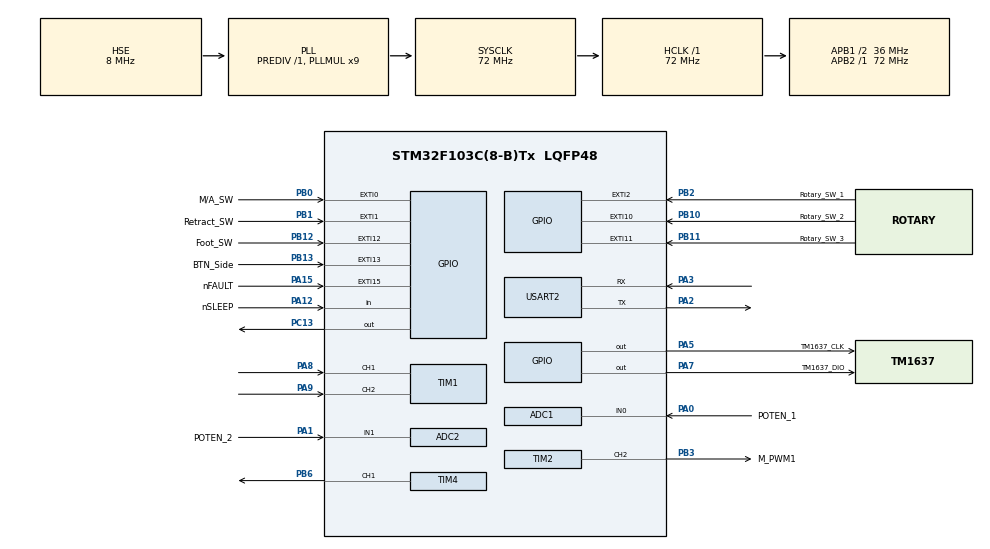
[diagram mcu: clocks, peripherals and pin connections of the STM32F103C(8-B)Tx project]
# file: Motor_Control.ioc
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ADC1.Channel-0\#ChannelRegularConversion=ADC_CHANNEL_0
ADC1.NbrOfConversion=1
ADC1.NbrOfConversionFlag=1
ADC1.Rank-0\#ChannelRegularConversion=1
ADC1.SamplingTime-0\#ChannelRegularConversion=ADC_SAMPLETIME_1CYCLE_5
ADC1.master=1
ADC2.Channel-0\#ChannelRegularConversion=ADC_CHANNEL_1
ADC2.NbrOfConversionFlag=1
ADC2.Rank-0\#ChannelRegularConversion=1
ADC2.SamplingTime-0\#ChannelRegularConversion=ADC_SAMPLETIME_1CYCLE_5
Mcu.Family=STM32F1
Mcu.Name=STM32F103C(8-B)Tx
Mcu.Package=LQFP48
NVIC.EXTI0_IRQn=true\:1\:0\:true\:false\:true\:true\:true\:true
NVIC.EXTI15_10_IRQn=true\:2\:0\:true\:false\:true\:true\:true\:true
NVIC.EXTI1_IRQn=true\:3\:0\:true\:false\:true\:true\:true\:true
NVIC.EXTI2_IRQn=true\:2\:0\:true\:false\:true\:true\:true\:true
NVIC.PriorityGroup=NVIC_PRIORITYGROUP_4
NVIC.TIM3_IRQn=true\:0\:0\:true\:false\:true\:true\:true\:true
PA0-WKUP.GPIO_Label=POTEN_1
PA0-WKUP.Signal=ADCx_IN0
PA1.GPIO_Label=POTEN_2
PA1.Signal=ADCx_IN1
PA12.GPIO_Label=nSLEEP
PA12.Signal=GPIO_Input
PA13.Mode=Serial_Wire
PA13.Signal=SYS_JTMS-SWDIO
PA14.Mode=Serial_Wire
PA14.Signal=SYS_JTCK-SWCLK
PA15.GPIO_Label=nFAULT
PA15.GPIO_ModeDefaultEXTI=GPIO_MODE_IT_FALLING
PA15.GPIO_PuPd=GPIO_PULLUP
PA15.Signal=GPXTI15
PA2.Mode=Asynchronous
PA2.Signal=USART2_TX
PA3.Mode=Asynchronous
PA3.Signal=USART2_RX
PA5.GPIO_Label=TM1637_CLK
PA5.GPIO_Speed=GPIO_SPEED_FREQ_HIGH
PA5.Signal=GPIO_Output
PA7.GPIO_Label=TM1637_DIO
PA7.GPIO_Speed=GPIO_SPEED_FREQ_HIGH
PA7.Signal=GPIO_Output
PA8.GPIO_PuPd=GPIO_PULLUP
PA8.Signal=S_TIM1_CH1
PA9.GPIO_PuPd=GPIO_PULLUP
PA9.Signal=S_TIM1_CH2
PB0.GPIO_Label=M/A_SW
PB0.GPIO_ModeDefaultEXTI=GPIO_MODE_IT_FALLING
PB0.GPIO_PuPd=GPIO_PULLUP
PB0.Signal=GPXTI0
PB1.GPIO_Label=Retract_SW
PB1.GPIO_ModeDefaultEXTI=GPIO_MODE_IT_FALLING
PB1.GPIO_PuPd=GPIO_PULLUP
PB1.Signal=GPXTI1
PB10.GPIO_Label=Rotary_SW_2
PB10.GPIO_ModeDefaultEXTI=GPIO_MODE_IT_FALLING
PB10.GPIO_PuPd=GPIO_PULLUP
PB10.Signal=GPXTI10
PB11.GPIO_Label=Rotary_SW_3
PB11.GPIO_ModeDefaultEXTI=GPIO_MODE_IT_FALLING
PB11.GPIO_PuPd=GPIO_PULLUP
PB11.Signal=GPXTI11
PB12.GPIO_Label=Foot_SW
PB12.GPIO_ModeDefaultEXTI=GPIO_MODE_IT_FALLING
PB12.GPIO_PuPd=GPIO_PULLUP
PB12.Signal=GPXTI12
PB13.GPIO_Label=BTN_Side
PB13.GPIO_ModeDefaultEXTI=GPIO_MODE_IT_FALLING
PB13.GPIO_PuPd=GPIO_PULLUP
PB13.Signal=GPXTI13
PB2.GPIO_Label=Rotary_SW_1
PB2.GPIO_ModeDefaultEXTI=GPIO_MODE_IT_FALLING
PB2.GPIO_PuPd=GPIO_PULLUP
PB2.Signal=GPXTI2
PB3.GPIO_Label=M_PWM1
PB3.Signal=S_TIM2_CH2
PB6.Signal=S_TIM4_CH1
PC13-TAMPER-RTC.Signal=GPIO_Output
PD0-OSC_IN.Mode=HSE-External-Oscillator
PD0-OSC_IN.Signal=RCC_OSC_IN
PD1-OSC_OUT.Mode=HSE-External-Oscillator
PD1-OSC_OUT.Signal=RCC_OSC_OUT
ProjectManager.HeapSize=0x200
ProjectManager.StackSize=0x400
ProjectManager.TargetToolchain=STM32CubeIDE
RCC.ADCPresc=RCC_ADCPCLK2_DIV6
RCC.AHBFreq_Value=72000000
RCC.APB1CLKDivider=RCC_HCLK_DIV2
RCC.APB1Freq_Value=36000000
RCC.APB1TimFreq_Value=72000000
RCC.APB2Freq_Value=72000000
RCC.APB2TimFreq_Value=72000000
RCC.HCLKFreq_Value=72000000
RCC.PLLMUL=RCC_PLL_MUL9
RCC.PLLSourceVirtual=RCC_PLLSOURCE_HSE
RCC.SYSCLKFreq_VALUE=72000000
RCC.SYSCLKSource=RCC_SYSCLKSOURCE_PLLCLK
RCC.USBFreq_Value=72000000
SH.ADCx_IN0.0=ADC1_IN0,IN0
SH.ADCx_IN1.0=ADC2_IN1,IN1
SH.S_TIM1_CH1.0=TIM1_CH1,Encoder_Interface
SH.S_TIM1_CH2.0=TIM1_CH2,Encoder_Interface
SH.S_TIM2_CH2.0=TIM2_CH2,PWM Generation2 CH2
SH.S_TIM4_CH1.0=TIM4_CH1,PWM Generation1 CH1
TIM2.Channel-PWM\ Generation2\ CH2=TIM_CHANNEL_2
TIM2.Period=49
TIM2.Prescaler=71
TIM3.Period=9999
TIM3.Prescaler=7199
TIM4.Channel-PWM\ Generation1\ CH1=TIM_CHANNEL_1
TIM4.Period=49
TIM4.Prescaler=71
USART2.VirtualMode=VM_ASYNC
VP_TIM3_VS_ClockSourceINT.Mode=Internal
board=custom

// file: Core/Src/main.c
/* USER CODE BEGIN Header */
/**
  ******************************************************************************
  * @file           : main.c
  * @brief          : Main program body
  ******************************************************************************
  * @attention
  *
  * Copyright (c) 2024 STMicroelectronics.
  * All rights reserved.
  *
  * This software is licensed under terms that can be found in the LICENSE file
  * in the root directory of this software component.
  * If no LICENSE file comes with this software, it is provided AS-IS.
  *
  ******************************************************************************
  */
/* USER CODE END Header */
#include "main.h"

/* USER CODE BEGIN Includes */
#include <stdbool.h>
#include "tm1637.h"
/* USER CODE END Includes */

/* USER CODE BEGIN PD */
#define AUTOMATIC 1
#define MANUAL 0
#define RELEASE 1
#define PRESS 0
#define NORMAL 1
#define LOAD_HIGH 0

#define PWM_FULL_DUTY 50
#define MOTOR_MAX_SPEED 280 //280rpmm
#define PULSES_REVOLUTION 234//Pulses per channel per revolution

#define TIME_SLOW_STARTUP 4000 //4s
#define TIME_SLOW_START 10000 //10s

#define D 3//diameter (cm)

#define VOL_SUPPLY_MCU 3300 //ms
#define ADC_12_BIT 4095
/* USER CODE END PD */

ADC_HandleTypeDef hadc1;
ADC_HandleTypeDef hadc2;

TIM_HandleTypeDef htim1;
TIM_HandleTypeDef htim2;
TIM_HandleTypeDef htim3;
TIM_HandleTypeDef htim4;

UART_HandleTypeDef huart2;

/* USER CODE BEGIN PV */
int load;
typedef struct {
	bool step1;
	bool step2;
	bool step3;
	bool foot;
	bool side;
	bool retract;
	bool autoManual;
}	Button;

typedef struct {
	float poten1;
	float poten2;
	float pwmValue;
	int setRate;
	int rate;
	bool loadStatus;
}	Motor;

typedef struct {
	int timeSysStart;
	int timeSysPre;
	int timePressFootStart;
	int timePressFootPre;
} Time;

Button button;
Motor motor;
Time time;

int retractCm = 0;

/* USER CODE END PV */

void SystemClock_Config(void);
static void MX_GPIO_Init(void);
static void MX_ADC1_Init(void);
static void MX_ADC2_Init(void);
static void MX_USART2_UART_Init(void);
static void MX_TIM2_Init(void);
static void MX_TIM1_Init(void);
static void MX_TIM3_Init(void);
static void MX_TIM4_Init(void);
/* USER CODE BEGIN PFP */
void slowStartup();
void startup();
void setSpeed();
void displaySpeed(int n);
int adjustSpeedDisplay();
void manualAutomatic();
void slowStart(int n);
void retract();
void resetStatusButton();
int measureSpeed();
bool checkLoadHigh();

void HAL_GPIO_EXTI_Callback(uint16_t GPIO_Pin);
void HAL_TIM_PeriodElapsedCallback(TIM_HandleTypeDef *htim);
/* USER CODE END PFP */

/* USER CODE BEGIN 0 */
#define TM1637_CLK_PORT GPIOA
#define TM1637_CLK_PIN GPIO_PIN_5
#define TM1637_DIO_PORT GPIOA
#define TM1637_DIO_PIN GPIO_PIN_7
TM1637Display display;
/* USER CODE END 0 */

int main(void)
{

  /* MCU Configuration--------------------------------------------------------*/

  /* Reset of all peripherals, Initializes the Flash interface and the Systick. */
  HAL_Init();

  /* Configure the system clock */
  SystemClock_Config();

  /* Initialize all configured peripherals */
  MX_GPIO_Init();
  MX_ADC1_Init();
  MX_ADC2_Init();
  MX_USART2_UART_Init();
  MX_TIM2_Init();
  MX_TIM1_Init();
  MX_TIM3_Init();
  MX_TIM4_Init();
  /* USER CODE BEGIN 2 */
  HAL_TIM_PWM_Start(&htim2, TIM_CHANNEL_2);
  HAL_TIM_PWM_Start(&htim4, TIM_CHANNEL_1);
  HAL_TIM_Encoder_Start(&htim1,TIM_CHANNEL_1);
  HAL_TIM_Encoder_Start(&htim1,TIM_CHANNEL_2);
  HAL_TIM_Base_Start_IT(&htim3);

  button.autoManual = MANUAL;
  button.step1 = RELEASE;
  button.step2 = RELEASE;
  button.step3 = RELEASE;
  button.foot = RELEASE;
  button.side = RELEASE;
  button.retract = RELEASE;

  motor.loadStatus =NORMAL;

  time.timeSysStart = HAL_GetTick();
  TM1637_Init(&display, TM1637_CLK_PORT, TM1637_CLK_PIN, TM1637_DIO_PORT, TM1637_DIO_PIN, 5);
  TM1637_SetBrightness(&display, 7, 1);
  TM1637_ShowNumberDec(&display, 1234, 0, 4, 0);

  HAL_GPIO_WritePin(GPIOC, GPIO_PIN_13, 1);
  /* USER CODE END 2 */

  /* Infinite loop */
  while (1)
  {

    /* USER CODE BEGIN 3 */

	//=======================================poten==========================
	HAL_ADC_Start(&hadc1);
	HAL_Delay(1000);
	int adc1 = HAL_ADC_GetValue(&hadc1)*VOL_SUPPLY_MCU/ADC_12_BIT;
	HAL_ADC_Stop(&hadc1);
	int poten1 = (adc1*PWM_FULL_DUTY)/VOL_SUPPLY_MCU;

	// display rate to poten
	TM1637_SetBrightness(&display, 7, 1);
	motor.poten1 = (poten1*MOTOR_MAX_SPEED)/PWM_FULL_DUTY;
	TM1637_ShowNumberDec(&display, motor.poten1, 0, 4, 0);
	//=======================================================================

	  retractCm = 0;
	 if(button.side == PRESS){
		 slowStart(75);
		 resetStatusButton();
	 }

	 if(button.autoManual == AUTOMATIC){
		 if(button.foot == PRESS){
			 if((HAL_GetTick() - time.timePressFootStart) >= 2000){
				 resetStatusButton();
				 slowStartup();
				 // Run with speed config				 while(1){
					 setSpeed();
					 motor.rate = measureSpeed();
					 displaySpeed(motor.rate);
					 if(motor.rate |= motor.setRate){
						 break;
					 }
				 }
				 adjustSpeedDisplay();

				 //check load high
				 if(!checkLoadHigh()){
					while(1){
						if(button.foot == PRESS){
							if((HAL_GetTick() - time.timePressFootStart) >= 2000){
								break;
							}
						 }
						if(button.foot == RELEASE){
							continue;
						}
					}
				 }
			 }
		 }
	 else{
		 if(button.foot == PRESS){
			 resetStatusButton();
			 slowStartup();
			 // Run with speed config
			 while(1){
				 setSpeed();
				 motor.rate = measureSpeed();
				 displaySpeed(motor.rate);
				 if(motor.rate |= motor.setRate){
					 break;
				 }
			 }
			 adjustSpeedDisplay();

			 //check load high
			 if(!checkLoadHigh()){
				if(button.foot == RELEASE){
					continue;
				}
			 }
		 }
	 }

	 if(((HAL_GetTick() - time.timeSysStart) > 5000) && (button.retract == PRESS)){
		  retract();
	 }
  }
  /* USER CODE END 3 */
}

void SystemClock_Config(void)
{
  RCC_OscInitTypeDef RCC_OscInitStruct = {0};
  RCC_ClkInitTypeDef RCC_ClkInitStruct = {0};
  RCC_PeriphCLKInitTypeDef PeriphClkInit = {0};

  /** Initializes the RCC Oscillators according to the specified parameters
  * in the RCC_OscInitTypeDef structure.
  */
  RCC_OscInitStruct.OscillatorType = RCC_OSCILLATORTYPE_HSE;
  RCC_OscInitStruct.HSEState = RCC_HSE_ON;
  RCC_OscInitStruct.HSEPredivValue = RCC_HSE_PREDIV_DIV1;
  RCC_OscInitStruct.HSIState = RCC_HSI_ON;
  RCC_OscInitStruct.PLL.PLLState = RCC_PLL_ON;
  RCC_OscInitStruct.PLL.PLLSource = RCC_PLLSOURCE_HSE;
  RCC_OscInitStruct.PLL.PLLMUL = RCC_PLL_MUL9;
  if (HAL_RCC_OscConfig(&RCC_OscInitStruct) != HAL_OK)
  {
    Error_Handler();
  }

  /** Initializes the CPU, AHB and APB buses clocks
  */
  RCC_ClkInitStruct.ClockType = RCC_CLOCKTYPE_HCLK|RCC_CLOCKTYPE_SYSCLK
                              |RCC_CLOCKTYPE_PCLK1|RCC_CLOCKTYPE_PCLK2;
  RCC_ClkInitStruct.SYSCLKSource = RCC_SYSCLKSOURCE_PLLCLK;
  RCC_ClkInitStruct.AHBCLKDivider = RCC_SYSCLK_DIV1;
  RCC_ClkInitStruct.APB1CLKDivider = RCC_HCLK_DIV2;
  RCC_ClkInitStruct.APB2CLKDivider = RCC_HCLK_DIV1;

  if (HAL_RCC_ClockConfig(&RCC_ClkInitStruct, FLASH_LATENCY_2) != HAL_OK)
  {
    Error_Handler();
  }
  PeriphClkInit.PeriphClockSelection = RCC_PERIPHCLK_ADC;
  PeriphClkInit.AdcClockSelection = RCC_ADCPCLK2_DIV6;
  if (HAL_RCCEx_PeriphCLKConfig(&PeriphClkInit) != HAL_OK)
  {
    Error_Handler();
  }
}

static void MX_ADC1_Init(void)
{

  ADC_ChannelConfTypeDef sConfig = {0};

  /** Common config
  */
  hadc1.Instance = ADC1;
  hadc1.Init.ScanConvMode = ADC_SCAN_DISABLE;
  hadc1.Init.ContinuousConvMode = DISABLE;
  hadc1.Init.DiscontinuousConvMode = DISABLE;
  hadc1.Init.ExternalTrigConv = ADC_SOFTWARE_START;
  hadc1.Init.DataAlign = ADC_DATAALIGN_RIGHT;
  hadc1.Init.NbrOfConversion = 1;
  if (HAL_ADC_Init(&hadc1) != HAL_OK)
  {
    Error_Handler();
  }

  /** Configure Regular Channel
  */
  sConfig.Channel = ADC_CHANNEL_0;
  sConfig.Rank = ADC_REGULAR_RANK_1;
  sConfig.SamplingTime = ADC_SAMPLETIME_1CYCLE_5;
  if (HAL_ADC_ConfigChannel(&hadc1, &sConfig) != HAL_OK)
  {
    Error_Handler();
  }

}

static void MX_ADC2_Init(void)
{

  ADC_ChannelConfTypeDef sConfig = {0};

  /** Common config
  */
  hadc2.Instance = ADC2;
  hadc2.Init.ScanConvMode = ADC_SCAN_DISABLE;
  hadc2.Init.ContinuousConvMode = DISABLE;
  hadc2.Init.DiscontinuousConvMode = DISABLE;
  hadc2.Init.ExternalTrigConv = ADC_SOFTWARE_START;
  hadc2.Init.DataAlign = ADC_DATAALIGN_RIGHT;
  hadc2.Init.NbrOfConversion = 1;
  if (HAL_ADC_Init(&hadc2) != HAL_OK)
  {
    Error_Handler();
  }

  /** Configure Regular Channel
  */
  sConfig.Channel = ADC_CHANNEL_1;
  sConfig.Rank = ADC_REGULAR_RANK_1;
  sConfig.SamplingTime = ADC_SAMPLETIME_1CYCLE_5;
  if (HAL_ADC_ConfigChannel(&hadc2, &sConfig) != HAL_OK)
  {
    Error_Handler();
  }

}

static void MX_TIM1_Init(void)
{

  TIM_Encoder_InitTypeDef sConfig = {0};
  TIM_MasterConfigTypeDef sMasterConfig = {0};

  htim1.Instance = TIM1;
  htim1.Init.Prescaler = 0;
  htim1.Init.CounterMode = TIM_COUNTERMODE_UP;
  htim1.Init.Period = 65535;
  htim1.Init.ClockDivision = TIM_CLOCKDIVISION_DIV1;
  htim1.Init.RepetitionCounter = 0;
  htim1.Init.AutoReloadPreload = TIM_AUTORELOAD_PRELOAD_DISABLE;
  sConfig.EncoderMode = TIM_ENCODERMODE_TI1;
  sConfig.IC1Polarity = TIM_ICPOLARITY_RISING;
  sConfig.IC1Selection = TIM_ICSELECTION_DIRECTTI;
  sConfig.IC1Prescaler = TIM_ICPSC_DIV1;
  sConfig.IC1Filter = 0;
  sConfig.IC2Polarity = TIM_ICPOLARITY_RISING;
  sConfig.IC2Selection = TIM_ICSELECTION_DIRECTTI;
  sConfig.IC2Prescaler = TIM_ICPSC_DIV1;
  sConfig.IC2Filter = 0;
  if (HAL_TIM_Encoder_Init(&htim1, &sConfig) != HAL_OK)
  {
    Error_Handler();
  }
  sMasterConfig.MasterOutputTrigger = TIM_TRGO_RESET;
  sMasterConfig.MasterSlaveMode = TIM_MASTERSLAVEMODE_DISABLE;
  if (HAL_TIMEx_MasterConfigSynchronization(&htim1, &sMasterConfig) != HAL_OK)
  {
    Error_Handler();
  }

}

static void MX_TIM2_Init(void)
{

  TIM_MasterConfigTypeDef sMasterConfig = {0};
  TIM_OC_InitTypeDef sConfigOC = {0};

  htim2.Instance = TIM2;
  htim2.Init.Prescaler = 71;
  htim2.Init.CounterMode = TIM_COUNTERMODE_UP;
  htim2.Init.Period = 49;
  htim2.Init.ClockDivision = TIM_CLOCKDIVISION_DIV1;
  htim2.Init.AutoReloadPreload = TIM_AUTORELOAD_PRELOAD_DISABLE;
  if (HAL_TIM_PWM_Init(&htim2) != HAL_OK)
  {
    Error_Handler();
  }
  sMasterConfig.MasterOutputTrigger = TIM_TRGO_RESET;
  sMasterConfig.MasterSlaveMode = TIM_MASTERSLAVEMODE_DISABLE;
  if (HAL_TIMEx_MasterConfigSynchronization(&htim2, &sMasterConfig) != HAL_OK)
  {
    Error_Handler();
  }
  sConfigOC.OCMode = TIM_OCMODE_PWM1;
  sConfigOC.Pulse = 0;
  sConfigOC.OCPolarity = TIM_OCPOLARITY_HIGH;
  sConfigOC.OCFastMode = TIM_OCFAST_DISABLE;
  if (HAL_TIM_PWM_ConfigChannel(&htim2, &sConfigOC, TIM_CHANNEL_2) != HAL_OK)
  {
    Error_Handler();
  }
  HAL_TIM_MspPostInit(&htim2);

}

static void MX_TIM3_Init(void)
{

  TIM_ClockConfigTypeDef sClockSourceConfig = {0};
  TIM_MasterConfigTypeDef sMasterConfig = {0};

  htim3.Instance = TIM3;
  htim3.Init.Prescaler = 7199;
  htim3.Init.CounterMode = TIM_COUNTERMODE_UP;
  htim3.Init.Period = 9999;
  htim3.Init.ClockDivision = TIM_CLOCKDIVISION_DIV1;
  htim3.Init.AutoReloadPreload = TIM_AUTORELOAD_PRELOAD_DISABLE;
  if (HAL_TIM_Base_Init(&htim3) != HAL_OK)
  {
    Error_Handler();
  }
  sClockSourceConfig.ClockSource = TIM_CLOCKSOURCE_INTERNAL;
  if (HAL_TIM_ConfigClockSource(&htim3, &sClockSourceConfig) != HAL_OK)
  {
    Error_Handler();
  }
  sMasterConfig.MasterOutputTrigger = TIM_TRGO_RESET;
  sMasterConfig.MasterSlaveMode = TIM_MASTERSLAVEMODE_DISABLE;
  if (HAL_TIMEx_MasterConfigSynchronization(&htim3, &sMasterConfig) != HAL_OK)
  {
    Error_Handler();
  }

}

static void MX_TIM4_Init(void)
{

  TIM_MasterConfigTypeDef sMasterConfig = {0};
  TIM_OC_InitTypeDef sConfigOC = {0};

  htim4.Instance = TIM4;
  htim4.Init.Prescaler = 71;
  htim4.Init.CounterMode = TIM_COUNTERMODE_UP;
  htim4.Init.Period = 49;
  htim4.Init.ClockDivision = TIM_CLOCKDIVISION_DIV1;
  htim4.Init.AutoReloadPreload = TIM_AUTORELOAD_PRELOAD_DISABLE;
  if (HAL_TIM_PWM_Init(&htim4) != HAL_OK)
  {
    Error_Handler();
  }
  sMasterConfig.MasterOutputTrigger = TIM_TRGO_RESET;
  sMasterConfig.MasterSlaveMode = TIM_MASTERSLAVEMODE_DISABLE;
  if (HAL_TIMEx_MasterConfigSynchronization(&htim4, &sMasterConfig) != HAL_OK)
  {
    Error_Handler();
  }
  sConfigOC.OCMode = TIM_OCMODE_PWM1;
  sConfigOC.Pulse = 0;
  sConfigOC.OCPolarity = TIM_OCPOLARITY_HIGH;
  sConfigOC.OCFastMode = TIM_OCFAST_DISABLE;
  if (HAL_TIM_PWM_ConfigChannel(&htim4, &sConfigOC, TIM_CHANNEL_1) != HAL_OK)
  {
    Error_Handler();
  }
  HAL_TIM_MspPostInit(&htim4);

}

static void MX_USART2_UART_Init(void)
{

  huart2.Instance = USART2;
  huart2.Init.BaudRate = 115200;
  huart2.Init.WordLength = UART_WORDLENGTH_8B;
  huart2.Init.StopBits = UART_STOPBITS_1;
  huart2.Init.Parity = UART_PARITY_NONE;
  huart2.Init.Mode = UART_MODE_TX_RX;
  huart2.Init.HwFlowCtl = UART_HWCONTROL_NONE;
  huart2.Init.OverSampling = UART_OVERSAMPLING_16;
  if (HAL_UART_Init(&huart2) != HAL_OK)
  {
    Error_Handler();
  }

}

static void MX_GPIO_Init(void)
{
  GPIO_InitTypeDef GPIO_InitStruct = {0};

  /* GPIO Ports Clock Enable */
  __HAL_RCC_GPIOC_CLK_ENABLE();
  __HAL_RCC_GPIOD_CLK_ENABLE();
  __HAL_RCC_GPIOA_CLK_ENABLE();
  __HAL_RCC_GPIOB_CLK_ENABLE();

  /*Configure GPIO pin Output Level */
  HAL_GPIO_WritePin(GPIOC, GPIO_PIN_13, GPIO_PIN_RESET);

  /*Configure GPIO pin Output Level */
  HAL_GPIO_WritePin(GPIOA, TM1637_CLK_Pin|TM1637_DIO_Pin, GPIO_PIN_RESET);

  /*Configure GPIO pin : PC13 */
  GPIO_InitStruct.Pin = GPIO_PIN_13;
  GPIO_InitStruct.Mode = GPIO_MODE_OUTPUT_PP;
  GPIO_InitStruct.Pull = GPIO_NOPULL;
  GPIO_InitStruct.Speed = GPIO_SPEED_FREQ_LOW;
  HAL_GPIO_Init(GPIOC, &GPIO_InitStruct);

  /*Configure GPIO pins : TM1637_CLK_Pin TM1637_DIO_Pin */
  GPIO_InitStruct.Pin = TM1637_CLK_Pin|TM1637_DIO_Pin;
  GPIO_InitStruct.Mode = GPIO_MODE_OUTPUT_PP;
  GPIO_InitStruct.Pull = GPIO_NOPULL;
  GPIO_InitStruct.Speed = GPIO_SPEED_FREQ_HIGH;
  HAL_GPIO_Init(GPIOA, &GPIO_InitStruct);

  /*Configure GPIO pins : M_A_SW_Pin Retract_SW_Pin Rotary_SW_1_Pin Rotary_SW_2_Pin
                           Rotary_SW_3_Pin Foot_SW_Pin BTN_Side_Pin */
  GPIO_InitStruct.Pin = M_A_SW_Pin|Retract_SW_Pin|Rotary_SW_1_Pin|Rotary_SW_2_Pin
                          |Rotary_SW_3_Pin|Foot_SW_Pin|BTN_Side_Pin;
  GPIO_InitStruct.Mode = GPIO_MODE_IT_FALLING;
  GPIO_InitStruct.Pull = GPIO_PULLUP;
  HAL_GPIO_Init(GPIOB, &GPIO_InitStruct);

  /*Configure GPIO pin : nSLEEP_Pin */
  GPIO_InitStruct.Pin = nSLEEP_Pin;
  GPIO_InitStruct.Mode = GPIO_MODE_INPUT;
  GPIO_InitStruct.Pull = GPIO_NOPULL;
  HAL_GPIO_Init(nSLEEP_GPIO_Port, &GPIO_InitStruct);

  /*Configure GPIO pin : nFAULT_Pin */
  GPIO_InitStruct.Pin = nFAULT_Pin;
  GPIO_InitStruct.Mode = GPIO_MODE_IT_FALLING;
  GPIO_InitStruct.Pull = GPIO_PULLUP;
  HAL_GPIO_Init(nFAULT_GPIO_Port, &GPIO_InitStruct);

  /* EXTI interrupt init*/
  HAL_NVIC_SetPriority(EXTI0_IRQn, 1, 0);
  HAL_NVIC_EnableIRQ(EXTI0_IRQn);

  HAL_NVIC_SetPriority(EXTI1_IRQn, 3, 0);
  HAL_NVIC_EnableIRQ(EXTI1_IRQn);

  HAL_NVIC_SetPriority(EXTI2_IRQn, 2, 0);
  HAL_NVIC_EnableIRQ(EXTI2_IRQn);

  HAL_NVIC_SetPriority(EXTI15_10_IRQn, 2, 0);
  HAL_NVIC_EnableIRQ(EXTI15_10_IRQn);

}

/* USER CODE BEGIN 4 */

void slowStartup(){
	float step = PWM_FULL_DUTY/(TIME_SLOW_STARTUP/10.0);
	motor.pwmValue = 0;
	while(motor.pwmValue < PWM_FULL_DUTY) {
	    __HAL_TIM_SET_COMPARE(&htim2, TIM_CHANNEL_2, motor.pwmValue);
	    motor.pwmValue += step;
	    HAL_Delay(10);
	}
}

void setSpeed(){
	HAL_ADC_Start(&hadc1);
	HAL_Delay(1000);
	int adc1 = HAL_ADC_GetValue(&hadc1)*VOL_SUPPLY_MCU/ADC_12_BIT;
	HAL_ADC_Stop(&hadc1);
	int poten1 = (adc1*PWM_FULL_DUTY)/VOL_SUPPLY_MCU;

	// display rate to poten
	TM1637_SetBrightness(&display, 7, 1);
	motor.poten1 = (poten1*MOTOR_MAX_SPEED)/PWM_FULL_DUTY;
	TM1637_ShowNumberDec(&display, motor.poten1, 0, 4, 0);

	__HAL_TIM_SET_COMPARE(&htim2, TIM_CHANNEL_2, poten1);
}

int measureSpeed(){
	int timeStart = HAL_GetTick();
	int index = 0;
	int encoderCnt = 0;
	int encoderCntPre = 0;
	int rate = 0;
	while(index < 3){
		if((HAL_GetTick() - timeStart) >= 1000){
			encoderCnt = __HAL_TIM_GET_COUNTER(&htim1);
			rate = (encoderCnt - encoderCntPre)/PULSES_REVOLUTION;
			encoderCntPre = encoderCnt;
			timeStart = HAL_GetTick();
			index++;
		}
	}
	motor.rate = rate*60;
	return rate;
}

void displaySpeed(int n){
	int N = 0.079746*(n*60);
	TM1637_ShowNumberDec(&display, N, 0, 4, 0);
}

int adjustSpeedDisplay(){
	int poten;
	if(button.step1 == PRESS){
		poten = PWM_FULL_DUTY;
		motor.setRate = (poten*MOTOR_MAX_SPEED)/PWM_FULL_DUTY;
	    __HAL_TIM_SET_COMPARE(&htim2, TIM_CHANNEL_2, poten);
		displaySpeed(poten);
	}
	if(button.step2 == PRESS){
		poten = PWM_FULL_DUTY/3;
		motor.setRate = (poten*MOTOR_MAX_SPEED)/PWM_FULL_DUTY;
	    __HAL_TIM_SET_COMPARE(&htim2, TIM_CHANNEL_2, poten);
		displaySpeed(poten);
	}
	if(button.step3 == PRESS){
		poten = PWM_FULL_DUTY/5;
		motor.setRate = (poten*MOTOR_MAX_SPEED)/PWM_FULL_DUTY;
	    __HAL_TIM_SET_COMPARE(&htim2, TIM_CHANNEL_2, poten);
		displaySpeed(poten);
	}
	return poten;
}

void slowStart(int n){
	int setPWM = (n*PWM_FULL_DUTY)/MOTOR_MAX_SPEED; //0-50
	float step = setPWM/(TIME_SLOW_START/10.0);

	motor.pwmValue = 0;
	while(motor.pwmValue < setPWM) {
	    __HAL_TIM_SET_COMPARE(&htim2, TIM_CHANNEL_2, motor.pwmValue);
	    motor.pwmValue += step;
	    HAL_Delay(10);
	}
}

void retract(){
	HAL_ADC_Start(&hadc2);
	HAL_Delay(1000);
	int adc2 = HAL_ADC_GetValue(&hadc2)*VOL_SUPPLY_MCU/ADC_12_BIT;
	HAL_ADC_Stop(&hadc2);
	int poten = (adc2*PWM_FULL_DUTY)/VOL_SUPPLY_MCU;

	__HAL_TIM_SET_COMPARE(&htim2, TIM_CHANNEL_2, 0);
	__HAL_TIM_SET_COMPARE(&htim4, TIM_CHANNEL_1, poten);

	retractCm += (measureSpeed()*(-1))*3.14*D;
	TM1637_SetBrightness(&display, 7, 1);
	TM1637_ShowNumberDec(&display, retractCm, 0, 4, 0);
}

void HAL_GPIO_EXTI_Callback(uint16_t GPIO_Pin){
	if(GPIO_Pin == GPIO_PIN_0){
		button.autoManual = AUTOMATIC;
	}
	if(GPIO_Pin == GPIO_PIN_1){
		button.retract = PRESS;
	}
	if(GPIO_Pin == GPIO_PIN_2){
		button.step1 = PRESS;
		button.step2 = RELEASE;
		button.step3 = RELEASE;
	}
	if(GPIO_Pin == GPIO_PIN_10){
		button.step1 = RELEASE;
		button.step2 = PRESS;
		button.step3 = RELEASE;
	}
	if(GPIO_Pin == GPIO_PIN_11){
		button.step1 = RELEASE;
		button.step2 = RELEASE;
		button.step3 = PRESS;
	}
	if(GPIO_Pin == GPIO_PIN_13){
		button.side = PRESS;
	}
	if(GPIO_Pin == GPIO_PIN_12){
		button.foot=!button.foot;
		time.timePressFootStart = HAL_GetTick();
	}
	if(GPIO_Pin == GPIO_PIN_15){
		motor.loadStatus = LOAD_HIGH;
	}
}

bool checkLoadHigh(){
	if(motor.loadStatus == LOAD_HIGH)
		return true;
	else
		return false;
}

void resetStatusButton(){
	  button.autoManual = MANUAL;
	  button.foot = RELEASE;
	  button.side = RELEASE;
}

/* USER CODE END 4 */

void Error_Handler(void)
{
  __disable_irq();
  while (1)
  {
  }
}
